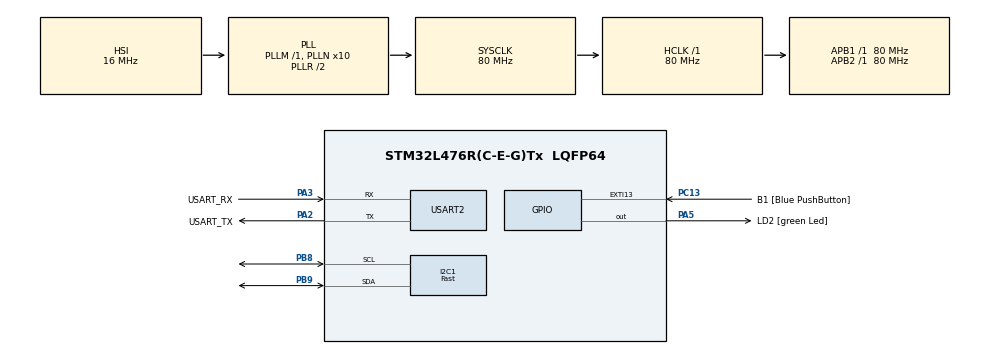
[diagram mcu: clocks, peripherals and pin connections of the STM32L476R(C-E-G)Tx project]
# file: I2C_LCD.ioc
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I2C1.I2C_Speed_Mode=I2C_Fast
I2C1.Timing=0x00702991
Mcu.Family=STM32L4
Mcu.Name=STM32L476R(C-E-G)Tx
Mcu.Package=LQFP64
NVIC.PriorityGroup=NVIC_PRIORITYGROUP_4
NVIC.RTC_Alarm_IRQn=true\:0\:0\:false\:false\:true\:true\:true
PA13\ (JTMS-SWDIO).GPIO_Label=TMS
PA13\ (JTMS-SWDIO).Mode=Serial_Wire
PA13\ (JTMS-SWDIO).Signal=SYS_JTMS-SWDIO
PA14\ (JTCK-SWCLK).GPIO_Label=TCK
PA14\ (JTCK-SWCLK).Mode=Serial_Wire
PA14\ (JTCK-SWCLK).Signal=SYS_JTCK-SWCLK
PA2.GPIO_Label=USART_TX
PA2.GPIO_Mode=GPIO_MODE_AF_PP
PA2.GPIO_PuPd=GPIO_NOPULL
PA2.GPIO_Speed=GPIO_SPEED_FREQ_VERY_HIGH
PA2.Mode=Asynchronous
PA2.Signal=USART2_TX
PA3.GPIO_Label=USART_RX
PA3.GPIO_Mode=GPIO_MODE_AF_PP
PA3.GPIO_PuPd=GPIO_NOPULL
PA3.GPIO_Speed=GPIO_SPEED_FREQ_VERY_HIGH
PA3.Mode=Asynchronous
PA3.Signal=USART2_RX
PA5.GPIO_Label=LD2 [green Led]
PA5.GPIO_ModeDefaultOutputPP=GPIO_MODE_OUTPUT_PP
PA5.GPIO_PuPd=GPIO_NOPULL
PA5.GPIO_Speed=GPIO_SPEED_FREQ_LOW
PA5.Signal=GPIO_Output
PB3\ (JTDO-TRACESWO).GPIO_Label=SWO
PB3\ (JTDO-TRACESWO).Signal=SYS_JTDO-SWO
PB8.Mode=I2C
PB8.Signal=I2C1_SCL
PB9.Mode=I2C
PB9.Signal=I2C1_SDA
PC13.GPIO_Label=B1 [Blue PushButton]
PC13.GPIO_ModeDefaultEXTI=GPIO_MODE_IT_FALLING
PC13.GPIO_PuPd=GPIO_NOPULL
PC13.Signal=GPXTI13
PC14-OSC32_IN\ (PC14).Mode=LSE-External-Oscillator
PC14-OSC32_IN\ (PC14).Signal=RCC_OSC32_IN
PC15-OSC32_OUT\ (PC15).Mode=LSE-External-Oscillator
PC15-OSC32_OUT\ (PC15).Signal=RCC_OSC32_OUT
PH0-OSC_IN\ (PH0).Signal=RCC_OSC_IN
PH1-OSC_OUT\ (PH1).Signal=RCC_OSC_OUT
ProjectManager.HeapSize=0x200
ProjectManager.StackSize=0x400
ProjectManager.TargetToolchain=STM32CubeIDE
RCC.ADCFreq_Value=64000000
RCC.AHBFreq_Value=80000000
RCC.APB1Freq_Value=80000000
RCC.APB1TimFreq_Value=80000000
RCC.APB2Freq_Value=80000000
RCC.APB2TimFreq_Value=80000000
RCC.CortexFreq_Value=80000000
RCC.HCLKFreq_Value=80000000
RCC.HSE_VALUE=8000000
RCC.HSI_VALUE=16000000
RCC.MSI_VALUE=4000000
RCC.PLLN=10
RCC.PLLSourceVirtual=RCC_PLLSOURCE_HSI
RCC.PREFETCH_ENABLE=1
RCC.SYSCLKFreq_VALUE=80000000
RCC.SYSCLKSource=RCC_SYSCLKSOURCE_PLLCLK
RCC.USBFreq_Value=64000000
RCC.VCOOutputFreq_Value=160000000
RTC.Alarm-Alarm\ A=RTC_ALARM_A
RTC.AlarmDateWeekDay-Alarm\ A=3
RTC.Date=3
RTC.Hours=14
RTC.Hours_A-Alarm\ A=14
RTC.Minutes_A-Alarm\ A=3
RTC.Month=RTC_MONTH_NOVEMBER
RTC.WeekDay=RTC_WEEKDAY_TUESDAY
RTC.Year=20
USART2.VirtualMode-Asynchronous=VM_ASYNC
VP_RTC_VS_RTC_Activate.Mode=RTC_Enabled
VP_RTC_VS_RTC_Alarm_A_Intern.Mode=Alarm A
VP_RTC_VS_RTC_Calendar.Mode=RTC_Calendar
board=NUCLEO-L476RG

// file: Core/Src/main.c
/* USER CODE BEGIN Header */
/**
  ******************************************************************************
  * @file           : main.c
  * @brief          : Main program body
  ******************************************************************************
  * @attention
  *
  * <h2><center>&copy; Copyright (c) 2020 STMicroelectronics.
  * All rights reserved.</center></h2>
  *
  * This software component is licensed by ST under BSD 3-Clause license,
  * the "License"; You may not use this file except in compliance with the
  * License. You may obtain a copy of the License at:
  *                        opensource.org/licenses/BSD-3-Clause
  *
  ******************************************************************************
  */
/* USER CODE END Header */
#include "main.h"

/* USER CODE BEGIN Includes */
#include "fonts.h"
#include "ssd1306.h"
#include "test.h"
#include "bitmap.h"
#include "stdio.h"
/* USER CODE END Includes */

/* USER CODE BEGIN PM */
RTC_HandleTypeDef RtcHandle;
/* USER CODE END PM */

I2C_HandleTypeDef hi2c1;

RTC_HandleTypeDef hrtc;

UART_HandleTypeDef huart2;

/* USER CODE BEGIN PV */
char time[10];
char date[10];

uint8_t alarm =0;
/* USER CODE END PV */

void SystemClock_Config(void);
static void MX_GPIO_Init(void);
static void MX_USART2_UART_Init(void);
static void MX_I2C1_Init(void);
static void MX_RTC_Init(void);
/* USER CODE BEGIN PFP */
void get_time(void);
/* USER CODE END PFP */

/* USER CODE BEGIN 0 */
void HAL_RTC_AlarmAEventCallback(RTC_HandleTypeDef *hrtc)
{
	alarm = 1;
}
/* USER CODE END 0 */

int main(void)
{

  /* MCU Configuration--------------------------------------------------------*/

  /* Reset of all peripherals, Initializes the Flash interface and the Systick. */
  HAL_Init();

  /* Configure the system clock */
  SystemClock_Config();

  /* Initialize all configured peripherals */
  MX_GPIO_Init();
  MX_USART2_UART_Init();
  MX_I2C1_Init();
  MX_RTC_Init();
  /* USER CODE BEGIN 2 */
  SSD1306_Init(); // Initialize

  SSD1306_DrawBitmap(2, 0, uribe, 128, 64, 1);
  SSD1306_UpdateScreen();

  //SSD1306_GotoXY (20,10); // goto 10, 10
  //SSD1306_Puts ("14:00:15", &Font_11x18, 1); // print Hello
  //SSD1306_UpdateScreen(); // update screen
  //HAL_Delay(1000);
  //SSD1306_GotoXY (17,18); // goto 10, 10
  //SSD1306_Puts ("    ", &Font_16x26, 1); // print Hello
  //SSD1306_UpdateScreen(); // update screen
  //SSD1306_GotoXY (17,18); // goto 10, 10
  //SSD1306_Puts ("36.0", &Font_7x10, 1); // print Hello
  //SSD1306_UpdateScreen(); // update screen

  /* USER CODE END 2 */

  /* Infinite loop */
  /* USER CODE BEGIN WHILE */
  while (1)
  {
	  //get_time();
	  //HAL_Delay(500);
    /* USER CODE END WHILE */

  }
}

void SystemClock_Config(void)
{
  RCC_OscInitTypeDef RCC_OscInitStruct = {0};
  RCC_ClkInitTypeDef RCC_ClkInitStruct = {0};
  RCC_PeriphCLKInitTypeDef PeriphClkInit = {0};

  /** Initializes the RCC Oscillators according to the specified parameters
  * in the RCC_OscInitTypeDef structure.
  */
  RCC_OscInitStruct.OscillatorType = RCC_OSCILLATORTYPE_HSI|RCC_OSCILLATORTYPE_LSI;
  RCC_OscInitStruct.HSIState = RCC_HSI_ON;
  RCC_OscInitStruct.HSICalibrationValue = RCC_HSICALIBRATION_DEFAULT;
  RCC_OscInitStruct.LSIState = RCC_LSI_ON;
  RCC_OscInitStruct.PLL.PLLState = RCC_PLL_ON;
  RCC_OscInitStruct.PLL.PLLSource = RCC_PLLSOURCE_HSI;
  RCC_OscInitStruct.PLL.PLLM = 1;
  RCC_OscInitStruct.PLL.PLLN = 10;
  RCC_OscInitStruct.PLL.PLLP = RCC_PLLP_DIV7;
  RCC_OscInitStruct.PLL.PLLQ = RCC_PLLQ_DIV2;
  RCC_OscInitStruct.PLL.PLLR = RCC_PLLR_DIV2;
  if (HAL_RCC_OscConfig(&RCC_OscInitStruct) != HAL_OK)
  {
    Error_Handler();
  }
  /** Initializes the CPU, AHB and APB buses clocks
  */
  RCC_ClkInitStruct.ClockType = RCC_CLOCKTYPE_HCLK|RCC_CLOCKTYPE_SYSCLK
                              |RCC_CLOCKTYPE_PCLK1|RCC_CLOCKTYPE_PCLK2;
  RCC_ClkInitStruct.SYSCLKSource = RCC_SYSCLKSOURCE_PLLCLK;
  RCC_ClkInitStruct.AHBCLKDivider = RCC_SYSCLK_DIV1;
  RCC_ClkInitStruct.APB1CLKDivider = RCC_HCLK_DIV1;
  RCC_ClkInitStruct.APB2CLKDivider = RCC_HCLK_DIV1;

  if (HAL_RCC_ClockConfig(&RCC_ClkInitStruct, FLASH_LATENCY_4) != HAL_OK)
  {
    Error_Handler();
  }
  PeriphClkInit.PeriphClockSelection = RCC_PERIPHCLK_RTC|RCC_PERIPHCLK_USART2
                              |RCC_PERIPHCLK_I2C1;
  PeriphClkInit.Usart2ClockSelection = RCC_USART2CLKSOURCE_PCLK1;
  PeriphClkInit.I2c1ClockSelection = RCC_I2C1CLKSOURCE_PCLK1;
  PeriphClkInit.RTCClockSelection = RCC_RTCCLKSOURCE_LSI;
  if (HAL_RCCEx_PeriphCLKConfig(&PeriphClkInit) != HAL_OK)
  {
    Error_Handler();
  }
  /** Configure the main internal regulator output voltage
  */
  if (HAL_PWREx_ControlVoltageScaling(PWR_REGULATOR_VOLTAGE_SCALE1) != HAL_OK)
  {
    Error_Handler();
  }
}

static void MX_I2C1_Init(void)
{

  hi2c1.Instance = I2C1;
  hi2c1.Init.Timing = 0x00702991;
  hi2c1.Init.OwnAddress1 = 0;
  hi2c1.Init.AddressingMode = I2C_ADDRESSINGMODE_7BIT;
  hi2c1.Init.DualAddressMode = I2C_DUALADDRESS_DISABLE;
  hi2c1.Init.OwnAddress2 = 0;
  hi2c1.Init.OwnAddress2Masks = I2C_OA2_NOMASK;
  hi2c1.Init.GeneralCallMode = I2C_GENERALCALL_DISABLE;
  hi2c1.Init.NoStretchMode = I2C_NOSTRETCH_DISABLE;
  if (HAL_I2C_Init(&hi2c1) != HAL_OK)
  {
    Error_Handler();
  }
  /** Configure Analogue filter
  */
  if (HAL_I2CEx_ConfigAnalogFilter(&hi2c1, I2C_ANALOGFILTER_ENABLE) != HAL_OK)
  {
    Error_Handler();
  }
  /** Configure Digital filter
  */
  if (HAL_I2CEx_ConfigDigitalFilter(&hi2c1, 0) != HAL_OK)
  {
    Error_Handler();
  }

}

static void MX_RTC_Init(void)
{

  RTC_TimeTypeDef sTime = {0};
  RTC_DateTypeDef sDate = {0};
  RTC_AlarmTypeDef sAlarm = {0};

  /** Initialize RTC Only
  */
  hrtc.Instance = RTC;
  hrtc.Init.HourFormat = RTC_HOURFORMAT_24;
  hrtc.Init.AsynchPrediv = 127;
  hrtc.Init.SynchPrediv = 255;
  hrtc.Init.OutPut = RTC_OUTPUT_DISABLE;
  hrtc.Init.OutPutRemap = RTC_OUTPUT_REMAP_NONE;
  hrtc.Init.OutPutPolarity = RTC_OUTPUT_POLARITY_HIGH;
  hrtc.Init.OutPutType = RTC_OUTPUT_TYPE_OPENDRAIN;
  if (HAL_RTC_Init(&hrtc) != HAL_OK)
  {
    Error_Handler();
  }

  /** Initialize RTC and set the Time and Date
  */
  sTime.Hours = 0x14;
  sTime.Minutes = 0x0;
  sTime.Seconds = 0x0;
  sTime.DayLightSaving = RTC_DAYLIGHTSAVING_NONE;
  sTime.StoreOperation = RTC_STOREOPERATION_RESET;
  if (HAL_RTC_SetTime(&hrtc, &sTime, RTC_FORMAT_BCD) != HAL_OK)
  {
    Error_Handler();
  }
  sDate.WeekDay = RTC_WEEKDAY_TUESDAY;
  sDate.Month = RTC_MONTH_NOVEMBER;
  sDate.Date = 0x3;
  sDate.Year = 0x20;

  if (HAL_RTC_SetDate(&hrtc, &sDate, RTC_FORMAT_BCD) != HAL_OK)
  {
    Error_Handler();
  }
  /** Enable the Alarm A
  */
  sAlarm.AlarmTime.Hours = 0x14;
  sAlarm.AlarmTime.Minutes = 0x3;
  sAlarm.AlarmTime.Seconds = 0x0;
  sAlarm.AlarmTime.SubSeconds = 0x0;
  sAlarm.AlarmTime.DayLightSaving = RTC_DAYLIGHTSAVING_NONE;
  sAlarm.AlarmTime.StoreOperation = RTC_STOREOPERATION_RESET;
  sAlarm.AlarmMask = RTC_ALARMMASK_NONE;
  sAlarm.AlarmSubSecondMask = RTC_ALARMSUBSECONDMASK_ALL;
  sAlarm.AlarmDateWeekDaySel = RTC_ALARMDATEWEEKDAYSEL_DATE;
  sAlarm.AlarmDateWeekDay = 0x3;
  sAlarm.Alarm = RTC_ALARM_A;
  if (HAL_RTC_SetAlarm_IT(&hrtc, &sAlarm, RTC_FORMAT_BCD) != HAL_OK)
  {
    Error_Handler();
  }

}

static void MX_USART2_UART_Init(void)
{

  huart2.Instance = USART2;
  huart2.Init.BaudRate = 115200;
  huart2.Init.WordLength = UART_WORDLENGTH_8B;
  huart2.Init.StopBits = UART_STOPBITS_1;
  huart2.Init.Parity = UART_PARITY_NONE;
  huart2.Init.Mode = UART_MODE_TX_RX;
  huart2.Init.HwFlowCtl = UART_HWCONTROL_NONE;
  huart2.Init.OverSampling = UART_OVERSAMPLING_16;
  huart2.Init.OneBitSampling = UART_ONE_BIT_SAMPLE_DISABLE;
  huart2.AdvancedInit.AdvFeatureInit = UART_ADVFEATURE_NO_INIT;
  if (HAL_UART_Init(&huart2) != HAL_OK)
  {
    Error_Handler();
  }

}

static void MX_GPIO_Init(void)
{
  GPIO_InitTypeDef GPIO_InitStruct = {0};

  /* GPIO Ports Clock Enable */
  __HAL_RCC_GPIOC_CLK_ENABLE();
  __HAL_RCC_GPIOH_CLK_ENABLE();
  __HAL_RCC_GPIOA_CLK_ENABLE();
  __HAL_RCC_GPIOB_CLK_ENABLE();

  /*Configure GPIO pin Output Level */
  HAL_GPIO_WritePin(LD2_GPIO_Port, LD2_Pin, GPIO_PIN_RESET);

  /*Configure GPIO pin : B1_Pin */
  GPIO_InitStruct.Pin = B1_Pin;
  GPIO_InitStruct.Mode = GPIO_MODE_IT_FALLING;
  GPIO_InitStruct.Pull = GPIO_NOPULL;
  HAL_GPIO_Init(B1_GPIO_Port, &GPIO_InitStruct);

  /*Configure GPIO pin : LD2_Pin */
  GPIO_InitStruct.Pin = LD2_Pin;
  GPIO_InitStruct.Mode = GPIO_MODE_OUTPUT_PP;
  GPIO_InitStruct.Pull = GPIO_NOPULL;
  GPIO_InitStruct.Speed = GPIO_SPEED_FREQ_LOW;
  HAL_GPIO_Init(LD2_GPIO_Port, &GPIO_InitStruct);

}

/* USER CODE BEGIN 4 */
void get_time(void)
{
  RTC_DateTypeDef gDate;
  RTC_TimeTypeDef gTime;

  /* Get the RTC current Time */
  HAL_RTC_GetTime(&hrtc, &gTime, RTC_FORMAT_BIN);
  /* Get the RTC current Date */
  HAL_RTC_GetDate(&hrtc, &gDate, RTC_FORMAT_BIN);

  /* Display time Format: hh:mm:ss */
  sprintf((char*)time,"%02d:%02d:%02d",gTime.Hours, gTime.Minutes, gTime.Seconds);

  /* Display date Format: mm-dd-yy */
  sprintf((char*)date,"%02d-%02d-%2d",gDate.Date, gDate.Month, 2000 + gDate.Year);  // I like the date first

  SSD1306_GotoXY (20,10);
  SSD1306_Puts (time, &Font_11x18, 1);
  SSD1306_UpdateScreen(); // update screen

  SSD1306_GotoXY (10,40);
  SSD1306_Puts (date, &Font_11x18, 1);
  SSD1306_UpdateScreen(); // update screen
}
/*static void RTC_TimeShow(uint8_t* showtime)
{
  RTC_DateTypeDef sdatestructureget;
  RTC_TimeTypeDef stimestructureget;

  HAL_RTC_GetTime(&RtcHandle, &stimestructureget, RTC_FORMAT_BIN);

  HAL_RTC_GetDate(&RtcHandle, &sdatestructureget, RTC_FORMAT_BIN);

  sprintf((char*)showtime,"%02d:%02d:%02d",stimestructureget.Hours, stimestructureget.Minutes, stimestructureget.Seconds);

}*/
/* USER CODE END 4 */

void Error_Handler(void)
{
}

/************************ (C) COPYRIGHT STMicroelectronics *****END OF FILE****/
